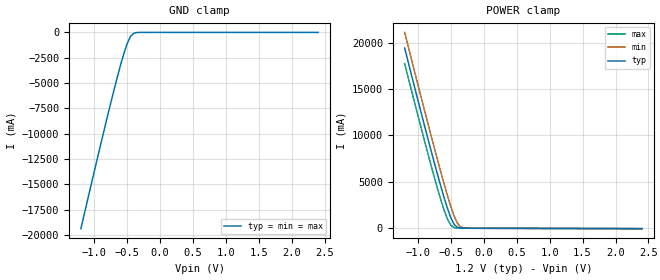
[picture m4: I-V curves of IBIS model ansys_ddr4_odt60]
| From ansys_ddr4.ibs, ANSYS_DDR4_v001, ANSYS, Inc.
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|Model ansys_ddr4_odt60
[Model] ansys_ddr4_odt60
Model_type Input
Vinl = 0.8
Vinh = 1.0
C_comp 1e-13 9.5e-14 1.05e-13
[Temperature Range] 25.0 0.0 85.0
[Voltage Range] 1.2 1.14 1.26
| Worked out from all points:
|   GND clamp passes 1 mA (typ) near -0.27 V on its own axis
|   POWER clamp passes 1 mA (typ) near -0.06 V on its own axis
[GND Clamp]
-1.2V     -19.39A    -19.39A    -19.39A
-850mV    -9.722A    -9.722A    -9.722A
-700mV    -5.751A    -5.751A    -5.751A
-600mV    -3.265A    -3.265A    -3.265A
-550mV    -2.13A     -2.13A     -2.13A
-500mV    -1.141A    -1.141A    -1.141A
-450mV    -425.1mA   -425.1mA   -425.1mA
-400mV    -94.51mA   -94.51mA   -94.51mA
-250mV    -337.2uA   -337.2uA   -337.2uA
2.4V      240uA      240uA      240uA
[POWER Clamp]
-1.2V     19.41A     21.09A     17.73A
-950mV    12.46A     14.12A     10.82A
-800mV    8.392A     10.01A     6.802A
-700mV    5.762A     7.33A      4.244A
-600mV    3.275A     4.744A     1.926A
-550mV    2.139A     3.514A     978.9mA
-500mV    1.15A      2.357A     334.9mA
-450mV    432.5mA    1.331A     72.64mA
-400mV    101.1mA    546.8mA    15.63mA
-350mV    20.84mA    139.7mA    6.082mA
-200mV    3.378mA    5.022mA    2.227mA
2.4V      -40mA      -41.05mA   -39.05mA
